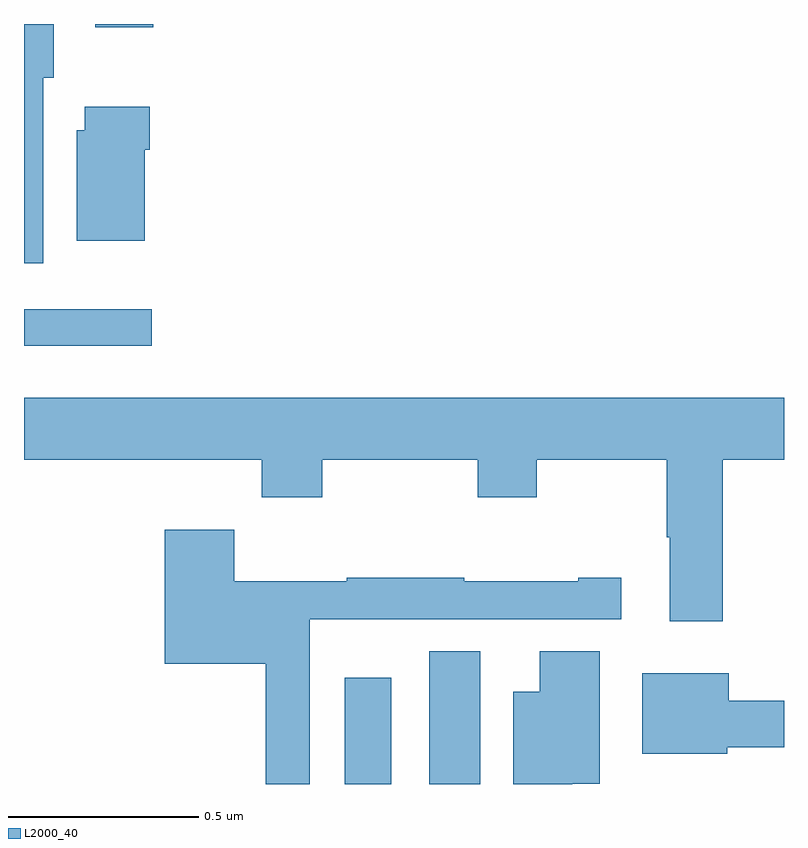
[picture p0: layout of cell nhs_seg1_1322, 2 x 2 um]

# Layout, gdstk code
import gdstk
lib = gdstk.Library(unit=1e-6, precision=1e-09)
def R(c, l, rs):  # rectangles x0, y0, x1, y1
    for r in rs: c.add(gdstk.rectangle(r[:2], r[2:], *l))
def P(c, l, *ps):  # polygons
    for p in ps: c.add(gdstk.Polygon(p, *l))
L2000_40 = (2000, 40)

nhs_seg1_1322 = lib.new_cell('nhs_seg1_1322')
R(nhs_seg1_1322, L2000_40, [(127.844,564.199,127.966,564.478), (128.066,564.199,128.2,564.548), (127,565.352,127.336,565.449), (127.187,566.19,127.34,566.199)])
P(nhs_seg1_1322, L2000_40, [(127.051,566.058),(127.078,566.058),(127.078,566.199),(127,566.199),(127,565.569),(127.051,565.569)],
  [(127.318,565.868),(127.331,565.868),(127.331,565.981),(127.16,565.981),(127.16,565.92),(127.139,565.92),(127.139,565.628),(127.318,565.628)],
  [(128.839,565.052),(129,565.052),(129,565.216),(127,565.216),(127,565.052),(127.625,565.052),(127.625,564.953),(127.785,564.953),(127.785,565.052),(128.194,565.052),(128.194,564.953),(128.349,564.953),(128.349,565.052),(128.692,565.052),(128.692,564.848),(128.699,564.848),(128.699,564.627),(128.839,564.627)],
  [(127.752,564.632),(127.962,564.632),(127.962,564.633),(128.572,564.633),(128.572,564.742),(128.459,564.742),(128.459,564.732),(128.159,564.732),(128.159,564.742),(127.849,564.742),(127.849,564.732),(127.553,564.732),(127.553,564.868),(127.37,564.868),(127.37,564.515),(127.636,564.515),(127.636,564.199),(127.752,564.199)],
  [(128.443,564.2),(128.515,564.2),(128.515,564.548),(128.357,564.548),(128.357,564.442),(128.288,564.442),(128.288,564.199),(128.443,564.199)],
  [(128.85,564.296),(129,564.296),(129,564.418),(128.854,564.418),(128.854,564.49),(128.627,564.49),(128.627,564.278),(128.85,564.278)])

lib.write_gds('nhs_seg1_1322.gds')
